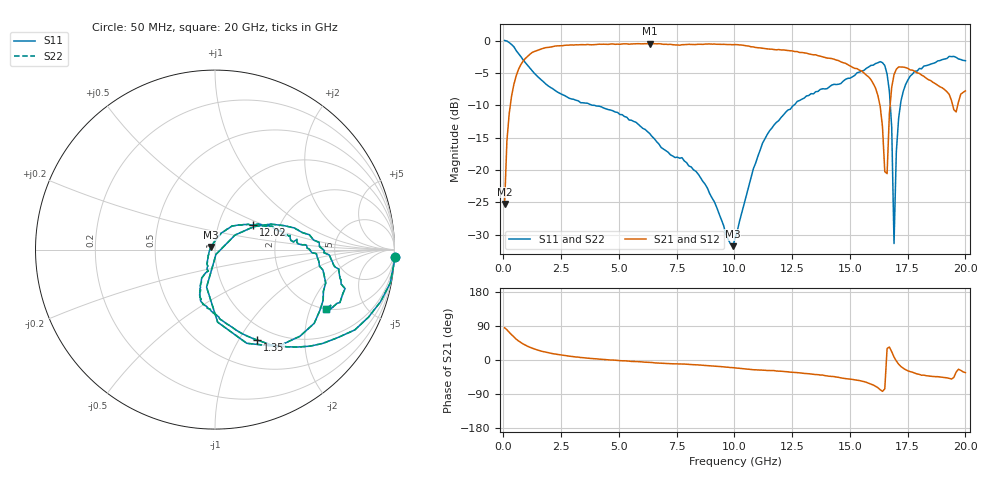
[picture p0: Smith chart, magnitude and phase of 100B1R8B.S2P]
!  American Technical Ceramics  Date:  3/13/98
!  One Norden Lane
!  Huntington Station,  NY.  11746-2102
!  Tel:  (516) 547-5700  Fax:  (516) 547-5748
!  Part Number  100b1r8b
!  Description: Porcelain, High Q, Low ESR
!  Application: Bypass, Coupling, Timing, Feedback
!  Tuning, Impedance Match, Blocking
# GHZ S DB R 50
! Freq  |S11|  S11 Ph  |S21|  S21 Ph  |S12|  S12 Ph  |S22|  S22 Ph
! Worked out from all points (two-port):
!   201 points, 50 MHz to 20 GHz, reference 50 ohm
!   highest |S21| = -0.45 dB at 6.33 GHz (marker M1); lowest = -25.3 dB at 50 MHz (marker M2)
!   |S21| within 3 dB of the highest: 798.2 MHz to 14.76 GHz (13.96 GHz wide, 179 % of centre)
!   lowest |S11| = -31.8 dB at 9.93 GHz (marker M3), VSWR 1.05, Z = 47.9 + j1.39 ohm
!   |S11| at or under -10 dB: 3.94 GHz to 12.56 GHz (8.624 GHz wide, 105 % of centre); 16.75 GHz to 17.19 GHz (436.3 MHz wide, 2.57 % of centre)
!   |S22| runs from -31.8 to 0.0 dB; largest |S21 - S12| = 0
!   S11 on the Smith chart (normalised r, x): 50 MHz: -5, -47; 1.35 GHz: 0.82, -1.20; 12.02 GHz: 1.47, +0.43; 20 GHz: 1.97, -2.58
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0.05  0.04 -2.4  -25.28 85.1  -25.28 85.1  0.04 -2.4
0.15  -0.05 -10.7  -15.47 79.8  -15.47 79.8  -0.05 -10.7
0.45  -0.93 -29.9  -6.77 61.2  -6.77 61.2  -0.93 -29.9
1.35  -5.09 -65.0  -1.65 28.9  -1.65 28.9  -5.09 -65.0
3.44  -9.60 -96.4  -0.61 6.2  -0.61 6.2  -9.60 -96.4
6.33  -14.36 -113.4  -0.45 -6.2  -0.45 -6.2  -14.36 -113.4
6.73  -15.98 -114.0  -0.46 -8.3  -0.46 -8.3  -15.98 -114.0
9.93  -31.79 145.6  -0.62 -20.2  -0.62 -20.2  -31.79 145.6
10.03  -30.62 126.0  -0.60 -20.8  -0.60 -20.8  -30.62 126.0
12.02  -11.88 33.0  -1.43 -29.7  -1.43 -29.7  -11.88 33.0
13.42  -8.23 13.3  -2.18 -37.9  -2.18 -37.9  -8.23 13.3
16.11  -3.54 -25.0  -7.34 -69.3  -7.34 -69.3  -3.54 -25.0
16.51  -3.83 -57.1  -20.26 -76.2  -20.26 -76.2  -3.83 -57.1
16.61  -5.17 -71.2  -20.56 30.3  -20.56 30.3  -5.17 -71.2
16.71  -7.86 -87.9  -11.22 34.2  -11.22 34.2  -7.86 -87.9
16.81  -13.38 -102.6  -7.20 21.9  -7.20 21.9  -13.38 -102.6
16.91  -31.38 -78.1  -5.26 7.9  -5.26 7.9  -31.38 -78.1
17.01  -17.20 36.0  -4.41 -2.6  -4.41 -2.6  -17.20 36.0
17.11  -11.99 30.6  -4.06 -11.1  -4.06 -11.1  -11.99 30.6
17.41  -6.79 15.3  -4.16 -25.6  -4.16 -25.6  -6.79 15.3
19.6  -2.58 -23.8  -11.02 -31.9  -11.02 -31.9  -2.58 -23.8
20  -3.09 -28.4  -7.76 -33.3  -7.76 -33.3  -3.09 -28.4
